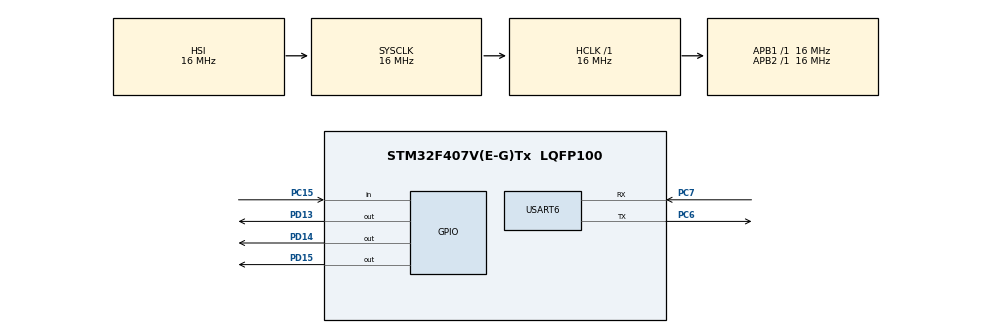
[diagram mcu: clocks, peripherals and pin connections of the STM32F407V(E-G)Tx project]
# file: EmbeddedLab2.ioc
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Mcu.Family=STM32F4
Mcu.Name=STM32F407V(E-G)Tx
Mcu.Package=LQFP100
NVIC.PriorityGroup=NVIC_PRIORITYGROUP_4
NVIC.USART6_IRQn=true\:0\:0\:false\:false\:true\:true\:true
PA13.Mode=JTAG_5_pins
PA13.Signal=SYS_JTMS-SWDIO
PA14.Mode=JTAG_5_pins
PA14.Signal=SYS_JTCK-SWCLK
PA15.Mode=JTAG_5_pins
PA15.Signal=SYS_JTDI
PB3.Mode=JTAG_5_pins
PB3.Signal=SYS_JTDO-SWO
PB4.Mode=JTAG_5_pins
PB4.Signal=SYS_JTRST
PC15-OSC32_OUT.Signal=GPIO_Input
PC6.Mode=Asynchronous
PC6.Signal=USART6_TX
PC7.Mode=Asynchronous
PC7.Signal=USART6_RX
PD13.Signal=GPIO_Output
PD14.Signal=GPIO_Output
PD15.Signal=GPIO_Output
PH0-OSC_IN.Mode=HSE-External-Oscillator
PH0-OSC_IN.Signal=RCC_OSC_IN
PH1-OSC_OUT.Mode=HSE-External-Oscillator
PH1-OSC_OUT.Signal=RCC_OSC_OUT
ProjectManager.HeapSize=0x200
ProjectManager.StackSize=0x400
ProjectManager.TargetToolchain=STM32CubeIDE
RCC.AHBFreq_Value=16000000
RCC.APB1Freq_Value=16000000
RCC.APB2Freq_Value=16000000
RCC.CortexFreq_Value=16000000
RCC.HSE_VALUE=25000000
RCC.HSI_VALUE=16000000
RCC.LSE_VALUE=32768
RCC.SYSCLKFreq_VALUE=16000000
RCC.VCOOutputFreq_Value=192000000
USART6.VirtualMode=VM_ASYNC
board=custom

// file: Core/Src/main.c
/* USER CODE BEGIN Header */
/**
 ******************************************************************************
 * @file           : main.c
 * @brief          : Main program body
 ******************************************************************************
 * @attention
 *
 * <h2><center>&copy; Copyright (c) 2019 STMicroelectronics.
 * All rights reserved.</center></h2>
 *
 * This software component is licensed by ST under BSD 3-Clause license,
 * the "License"; You may not use this file except in compliance with the
 * License. You may obtain a copy of the License at:
 *                        opensource.org/licenses/BSD-3-Clause
 *
 ******************************************************************************
 */
/* USER CODE END Header */

#include "main.h"

/* USER CODE BEGIN Includes */
#include "stdint.h"
#include "stdbool.h"
#include "string.h"
/* USER CODE END Includes */

/* USER CODE BEGIN PTD */
typedef enum _ButtonState_enum {
	BUTTON_DOWN = GPIO_PIN_RESET, BUTTON_UP = GPIO_PIN_SET,
} ButtonState;

typedef enum _ButtonEvent_enum {
	EVENT_NONE, EVENT_PRESSED, EVENT_RELEASED,
} ButtonEvent;

typedef enum _BulbColor_enum {
	COLOR_GREEN = GPIO_PIN_13,
	COLOR_YELLOW = GPIO_PIN_14,
	COLOR_RED = GPIO_PIN_15,
} BulbColor;

typedef enum _LightState_enum {
	LIGHT_ON = GPIO_PIN_SET, LIGHT_OFF = GPIO_PIN_RESET,
} LightState;

typedef uint32_t timestamp_t;
typedef uint32_t duration_t;

typedef struct code_chart_entry {
	uint8_t symbol;
	char *code;
} code_chart_entry_t;
/* USER CODE END PTD */

UART_HandleTypeDef huart6;

/* USER CODE BEGIN PV */
const size_t MAX_NUM_SIGNALS = 64;
const duration_t POLL_INTERVAL_MILLIS = 5;

const duration_t DOT_DURATION_MILLIS = 200;
const duration_t DASH_DURATION_MILLIS = 600;
const duration_t PAUSE_BETWEEN_LETTERS_MILLIS = 300;

const duration_t MAX_PAUSE_MILLIS = 3000;

typedef enum morse_codepoint {
	DOT = '.',
	DASH = '-',
} morse_codepoint_t;

const code_chart_entry_t MORSE_CODE_CHART[] = { { 'A', ".-" }, { 'B', "-..." },
		{ 'C', "-.-." }, { 'D', "-.." }, { 'E', "." }, { 'F', "..-." }, { 'G',
				"--." }, { 'H', "...." }, { 'I', ".." }, { 'J', ".---" }, { 'K',
				"-.-" }, { 'L', ".-.." }, { 'M', "--" }, { 'N', "-." }, { 'O',
				"---" }, { 'P', ".--." }, { 'Q', "--.-" }, { 'R', ".-." }, {
				'S', "..." }, { 'T', "-" }, { 'U', "..-" }, { 'V', "...-" }, {
				'W', ".--" }, { 'X', "-..-" }, { 'Y', "-.--" }, { 'Z', "--.." },
		{ '.', ".-.-.-" }, { ',', "--..--" }, { '?', "..--.." },
		{ '-', "-....-" }, { '=', "-...-" }, { ':', "---..." },
		{ ';', "-.-.-." }, { '(', "-.--." }, { ')', "-.--.-" },
		{ '/', "-..-." }, { '"', ".-..-." }, { '$', "...-.-" },
		{ '\'', ".----." }, { '_', "..--.-" }, { '+', ".-.-." },
		{ '@', ".--.-." }, { '0', "-----" }, { '1', ".----" }, { '2', "..---" },
		{ '3', "...--" }, { '4', "....-" }, { '5', "....." }, { '6', "-...." },
		{ '7', "--..." }, { '8', "---.." }, { '9', "----." }, { '\0', "" }, // end of array marker
		};

bool interrupts_enabled = false;
/* USER CODE END PV */

void SystemClock_Config(void);
static void MX_GPIO_Init(void);
static void MX_USART6_UART_Init(void);
/* USER CODE BEGIN PFP */
ButtonState read_button_state();
void delay(duration_t duration_millis);
void set_light(BulbColor color, LightState state);
void turn_light_on(BulbColor color);
void turn_light_off(BulbColor color);
uint32_t get_instant_millis();
/* USER CODE END PFP */

/* USER CODE BEGIN 0 */
ButtonState read_button_state() {
	return HAL_GPIO_ReadPin(GPIOC, GPIO_PIN_15);
}

ButtonEvent determine_button_event(ButtonState oldState, ButtonState newState) {
	if (oldState == BUTTON_DOWN && newState == BUTTON_UP) {
		return EVENT_RELEASED;
	} else if (oldState == BUTTON_UP && newState == BUTTON_DOWN) {
		return EVENT_PRESSED;
	} else {
		return EVENT_NONE;
	}
}

void handle_button() {
	uint8_t received_character;
	decode_button_presses_from_morse(&received_character);
	blink_as_morse(received_character);
	print_char(received_character);
}

void decode_button_presses_from_morse(uint8_t *received_character) {
	duration_t timeout = 1;
	// todo
}

void set_light(BulbColor color, LightState state) {
	HAL_GPIO_WritePin(GPIOD, color, state);
}

void turn_light_on(BulbColor color) {
	set_light(color, LIGHT_ON);
}

void turn_light_off(BulbColor color) {
	set_light(color, LIGHT_OFF);
}

uint32_t clock_now_millis() {
	return HAL_GetTick();
}

HAL_StatusTypeDef read_char(uint8_t *received_char) {
	const size_t read_size = sizeof(*received_char);

	if (interrupts_enabled) {
		return HAL_UART_Receive_IT(&huart6, &*received_char, read_size);
	} else {
		uint32_t timeout = 50;
		return HAL_UART_Receive(&huart6, &*received_char, read_size, timeout);
	}
}

void print_char(uint8_t symbol) {
	const size_t write_size = sizeof(symbol);

	if (interrupts_enabled) {
		HAL_UART_Transmit_IT(&huart6, &symbol, write_size);
	} else {
		uint32_t timeout = 50;
		HAL_UART_Transmit(&huart6, &symbol, write_size, timeout);
	}
}

void disable_interrupts() {
//	__disable_irq();
	HAL_NVIC_DisableIRQ(USART6_IRQn);
	interrupts_enabled = false;
	char* message = "\nInterrupts disabled.";
	HAL_UART_Transmit_IT(&huart6, message, strlen(message));
}

void enable_interrupts() {
//	__enable_irq();
	HAL_NVIC_EnableIRQ(USART6_IRQn);
	interrupts_enabled = true;
	char* message = "\nInterrupts enabled.";
	HAL_UART_Transmit_IT(&huart6, message, strlen(message));
}

void toggle_interrupts() {
	if (interrupts_enabled) {
		disable_interrupts();
	} else {
		enable_interrupts();
	}
	set_light(COLOR_YELLOW, interrupts_enabled ? LIGHT_ON : LIGHT_OFF);
}

uint8_t decode_morse(uint8_t *morse_string) {
	for (size_t index = 0; MORSE_CODE_CHART[index].symbol != '\0'; index++) {
		if (strcmp(MORSE_CODE_CHART[index].code, (char*) morse_string) == 0) {
			return MORSE_CODE_CHART[index].symbol;
		}
	}
	return '\0';
}

uint8_t capitalize(uint8_t ascii_character) {
	if ('a' <= ascii_character && ascii_character <= 'z') {
		ascii_character += 'X' - 'x';
	}
	return ascii_character;
}

uint8_t* encode_morse(uint8_t ascii_character) {
	ascii_character = capitalize(ascii_character);
	for (size_t index = 0; MORSE_CODE_CHART[index].symbol != '\0'; index++) {
		if (MORSE_CODE_CHART[index].symbol == ascii_character) {
			return (uint8_t*) MORSE_CODE_CHART[index].code;
		}
	}
	return NULL;
}

void blink_morse_codepoint(uint8_t morse_codepoint) {
	size_t letter_duration = MAX_PAUSE_MILLIS;

	switch (morse_codepoint) {
	case '.':
		letter_duration = DOT_DURATION_MILLIS;
		break;
	case '-':
		letter_duration = DASH_DURATION_MILLIS;
		break;
	default:
		// Unreachable. The alphabet contains nothing but “.” and “-”.
		Error_Handler();
	}

	turn_light_on(COLOR_GREEN);
	delay(letter_duration);
	turn_light_off(COLOR_GREEN);
	delay(PAUSE_BETWEEN_LETTERS_MILLIS);
}

void delay(duration_t duration_millis) {
	HAL_Delay(duration_millis);
}

void blink_morse_string(uint8_t *morse_code) {
	for (int index = 0; morse_code[index] != '\0'; ++index) {
		blink_morse_codepoint(morse_code[index]);
	}
}

void blink_as_morse(uint8_t ascii_character) {
	uint8_t *morse_code = encode_morse(ascii_character);
	blink_morse_string(morse_code);
}

/* USER CODE END 0 */

int main(void)
{

  /* MCU Configuration--------------------------------------------------------*/

  /* Reset of all peripherals, Initializes the Flash interface and the Systick. */
  HAL_Init();

  /* Configure the system clock */
  SystemClock_Config();

  /* Initialize all configured peripherals */
  MX_GPIO_Init();
  MX_USART6_UART_Init();
  /* USER CODE BEGIN 2 */
	disable_interrupts();
  /* USER CODE END 2 */

  /* Infinite loop */
  /* USER CODE BEGIN WHILE */
	while (1) {
		uint8_t received_char = '\0';

		HAL_StatusTypeDef read_result = read_char(&received_char);

		switch (read_result) {
		case HAL_OK:
			print_char(received_char);
			if (received_char == '+') {
				toggle_interrupts();
			} else {
				blink_as_morse(received_char);
			}
			break;

		case HAL_ERROR:
		case HAL_BUSY:
		case HAL_TIMEOUT:
			break;
		}

//		handle_button();
    /* USER CODE END WHILE */

	}
}

void SystemClock_Config(void)
{
  RCC_OscInitTypeDef RCC_OscInitStruct = {0};
  RCC_ClkInitTypeDef RCC_ClkInitStruct = {0};

  /** Configure the main internal regulator output voltage
  */
  __HAL_RCC_PWR_CLK_ENABLE();
  __HAL_PWR_VOLTAGESCALING_CONFIG(PWR_REGULATOR_VOLTAGE_SCALE1);
  /** Initializes the CPU, AHB and APB busses clocks
  */
  RCC_OscInitStruct.OscillatorType = RCC_OSCILLATORTYPE_HSI;
  RCC_OscInitStruct.HSIState = RCC_HSI_ON;
  RCC_OscInitStruct.HSICalibrationValue = RCC_HSICALIBRATION_DEFAULT;
  RCC_OscInitStruct.PLL.PLLState = RCC_PLL_NONE;
  if (HAL_RCC_OscConfig(&RCC_OscInitStruct) != HAL_OK)
  {
    Error_Handler();
  }
  /** Initializes the CPU, AHB and APB busses clocks
  */
  RCC_ClkInitStruct.ClockType = RCC_CLOCKTYPE_HCLK|RCC_CLOCKTYPE_SYSCLK
                              |RCC_CLOCKTYPE_PCLK1|RCC_CLOCKTYPE_PCLK2;
  RCC_ClkInitStruct.SYSCLKSource = RCC_SYSCLKSOURCE_HSI;
  RCC_ClkInitStruct.AHBCLKDivider = RCC_SYSCLK_DIV1;
  RCC_ClkInitStruct.APB1CLKDivider = RCC_HCLK_DIV1;
  RCC_ClkInitStruct.APB2CLKDivider = RCC_HCLK_DIV1;

  if (HAL_RCC_ClockConfig(&RCC_ClkInitStruct, FLASH_LATENCY_0) != HAL_OK)
  {
    Error_Handler();
  }
}

static void MX_USART6_UART_Init(void)
{

  huart6.Instance = USART6;
  huart6.Init.BaudRate = 115200;
  huart6.Init.WordLength = UART_WORDLENGTH_8B;
  huart6.Init.StopBits = UART_STOPBITS_1;
  huart6.Init.Parity = UART_PARITY_NONE;
  huart6.Init.Mode = UART_MODE_TX_RX;
  huart6.Init.HwFlowCtl = UART_HWCONTROL_NONE;
  huart6.Init.OverSampling = UART_OVERSAMPLING_16;
  if (HAL_UART_Init(&huart6) != HAL_OK)
  {
    Error_Handler();
  }

}

static void MX_GPIO_Init(void)
{
  GPIO_InitTypeDef GPIO_InitStruct = {0};

  /* GPIO Ports Clock Enable */
  __HAL_RCC_GPIOC_CLK_ENABLE();
  __HAL_RCC_GPIOH_CLK_ENABLE();
  __HAL_RCC_GPIOD_CLK_ENABLE();
  __HAL_RCC_GPIOA_CLK_ENABLE();
  __HAL_RCC_GPIOB_CLK_ENABLE();

  /*Configure GPIO pin Output Level */
  HAL_GPIO_WritePin(GPIOD, GPIO_PIN_13|GPIO_PIN_14|GPIO_PIN_15, GPIO_PIN_RESET);

  /*Configure GPIO pin : PC15 */
  GPIO_InitStruct.Pin = GPIO_PIN_15;
  GPIO_InitStruct.Mode = GPIO_MODE_INPUT;
  GPIO_InitStruct.Pull = GPIO_NOPULL;
  HAL_GPIO_Init(GPIOC, &GPIO_InitStruct);

  /*Configure GPIO pins : PD13 PD14 PD15 */
  GPIO_InitStruct.Pin = GPIO_PIN_13|GPIO_PIN_14|GPIO_PIN_15;
  GPIO_InitStruct.Mode = GPIO_MODE_OUTPUT_PP;
  GPIO_InitStruct.Pull = GPIO_NOPULL;
  GPIO_InitStruct.Speed = GPIO_SPEED_FREQ_LOW;
  HAL_GPIO_Init(GPIOD, &GPIO_InitStruct);

}

void Error_Handler(void)
{
}

/************************ (C) COPYRIGHT STMicroelectronics *****END OF FILE****/
